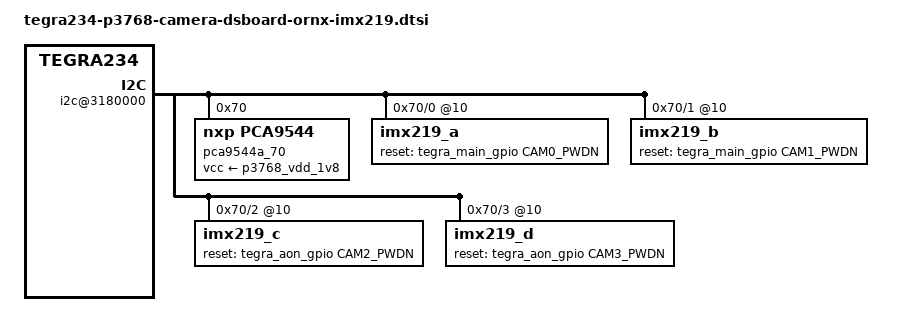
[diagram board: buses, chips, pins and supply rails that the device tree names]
/*
 * Copyright (c) 2022, NVIDIA CORPORATION.  All rights reserved.
 *
 * This program is free software; you can redistribute it and/or modify
 * it under the terms of the GNU General Public License as published by
 * the Free Software Foundation; either version 2 of the License, or
 * (at your option) any later version.
 *
 * This program is distributed in the hope that it will be useful, but WITHOUT
 * ANY WARRANTY; without even the implied warranty of MERCHANTABILITY or
 * FITNESS FOR A PARTICULAR PURPOSE.  See the GNU General Public License for
 * more details.
 *
 * You should have received a copy of the GNU General Public License
 * along with this program.  If not, see <http://www.gnu.org/licenses/>.
 */

#include "tegra234-camera-dsboard-ornx-imx219.dtsi"

#define CAM0_PWDN	TEGRA234_MAIN_GPIO(H, 6)
#define CAM1_PWDN	TEGRA234_MAIN_GPIO(AC, 0)
#define CAM2_PWDN	TEGRA234_AON_GPIO(CC, 1) // GPIO04
#define CAM3_PWDN	TEGRA234_AON_GPIO(EE, 2) // GPIO10
#define CAMERA_I2C_MUX_BUS(x) (0x1E + x)

// CAM0_MCLK - Pin_116 - GPIO(P, 0)
// CAM1_MCLK - Pin_122 - GPIO(P, 1)
// CAM2_MCLK - GPIO02 - GPIO(Q, 5)
// CAM3_MCLK - GPIO11 - GPIO(Q, 6)


/ {
	i2c@3180000 {
		pca9544a_70: pca9544a@70 {
			status = "okay";
			compatible = "nxp,pca9544";
			reg = <0x70>;
			#address-cells = <1>;
			#size-cells = <0>;
			vcc-supply = <&p3768_vdd_1v8>;
			skip_mux_detect;
			force_bus_start = <CAMERA_I2C_MUX_BUS(0)>;
			i2c@0 {
				//status="disabled";

				reg = <0>;
				i2c-mux,deselect-on-exit;
				#address-cells = <1>;
				#size-cells = <0>;
				imx219_a@10 {
					reset-gpios = <&tegra_main_gpio CAM0_PWDN GPIO_ACTIVE_HIGH>;
				};
			};
			i2c@1 {
				reg = <1>;
				i2c-mux,deselect-on-exit;
				#address-cells = <1>;
				#size-cells = <0>;
				imx219_b@10 {
					reset-gpios = <&tegra_main_gpio CAM1_PWDN GPIO_ACTIVE_HIGH>;
				};
			};
			i2c@2 {
				//status="disabled";

				reg = <2>;
				i2c-mux,deselect-on-exit;
				#address-cells = <1>;
				#size-cells = <0>;
				imx219_c@10 {
					reset-gpios = <&tegra_aon_gpio CAM2_PWDN GPIO_ACTIVE_HIGH>;
				};
			};
			i2c@3 {
				reg = <3>;
				i2c-mux,deselect-on-exit;
				#address-cells = <1>;
				#size-cells = <0>;
				imx219_d@10 {
					reset-gpios = <&tegra_aon_gpio CAM3_PWDN GPIO_ACTIVE_HIGH>;
				};
			};
		};
	};
};
